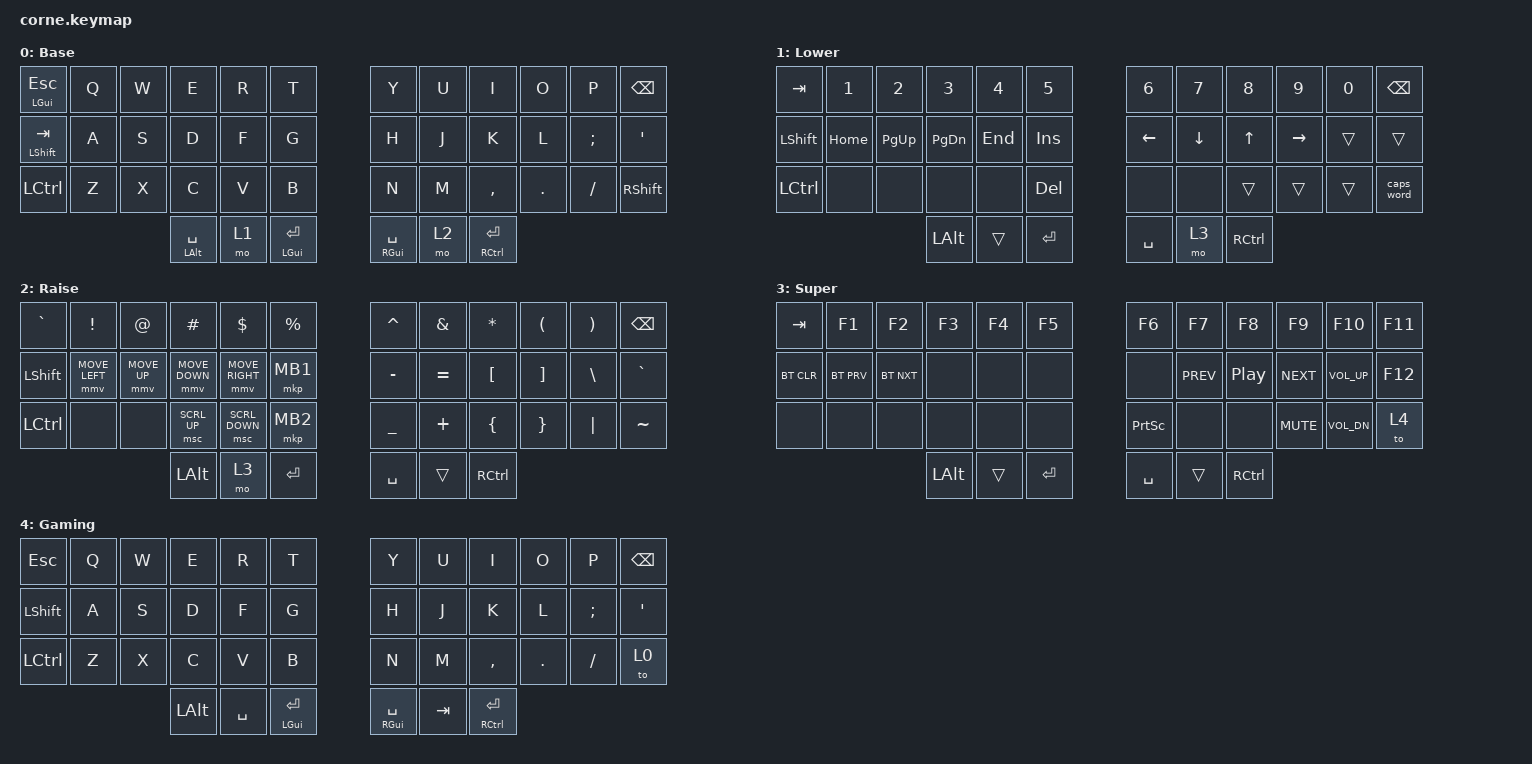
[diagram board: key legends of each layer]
/*
 * Copyright (c) 2020 The ZMK Contributors
 *
 * SPDX-License-Identifier: MIT
 */

#include <behaviors.dtsi>
#include <dt-bindings/zmk/keys.h>
#include <dt-bindings/zmk/bt.h>

// mouse emulation
#include <dt-bindings/zmk/pointing.h>

// will prefere tap version of mod-tap key
&mt {
    flavor = "balanced";
};

/ {
        keymap {
                compatible = "zmk,keymap";

                default_layer {
// -----------------------------------------------------------------------------------------
// |GUI(ESC) |  Q  |  W  |  E  |  R  |  T  |   |  Y  |  U   |  I  |  O  |  P  | BSPC |
// |SHFT(TAB)|  A  |  S  |  D  |  F  |  G  |   |  H  |  J   |  K  |  L  |  ;  |  '   |
// | LCTRL   |  Z  |  X  |  C  |  V  |  B  |   |  N  |  M   |  ,  |  .  |  /  | RSHFT  |
//                 | LALT | LWR | GUI(ret) |   | GUI(SPC) | RSE  | RCTRL |
                        display-name = "Base";
                        bindings = <
   &mt LGUI ESC  &kp Q &kp W &kp E &kp R &kp T   &kp Y &kp U  &kp I     &kp O   &kp P    &kp BSPC
   &mt LSHFT TAB &kp A &kp S &kp D &kp F &kp G   &kp H &kp J  &kp K     &kp L   &kp SEMI &kp SQT
   &kp LCTRL     &kp Z &kp X &kp C &kp V &kp B   &kp N &kp M  &kp COMMA &kp DOT &kp FSLH &kp RSHFT
             &mt LALT SPACE &mo 1 &mt LGUI RET   &mt RGUI SPACE &mo 2 &mt RCTRL RET
                        >;
                };
                lower_layer {
// -----------------------------------------------------------------------------------------
// |  TAB |  1  |  2  |  3  |  4  |  5  |   |  6  |  7  |  8  |  9  |  0  | BSPC |
// | SHFT |HOME |P_UP |P_DN | END | INS |   | LFT | DWN |  UP | RGT |     |      |
// | CTRL |     |     |     |     | DEL |   |     |     |     |     |     |      |
//                    | ALT |     | RET |   | SPC |     | CTL |
                        display-name = "Lower";
                        bindings = <
   &kp TAB    &kp N1       &kp N2       &kp N3       &kp N4       &kp N5             &kp N6   &kp N7   &kp N8 &kp N9    &kp N0 &kp BSPC
   &kp LSHFT  &kp HOME     &kp PG_UP    &kp PG_DN    &kp END      &kp INS            &kp LEFT &kp DOWN &kp UP &kp RIGHT &trans &trans
   &kp LCTRL  &none        &none        &none        &none        &kp DEL            &none    &none    &trans &trans    &trans &caps_word
                                         &kp LALT     &trans       &kp RET          &kp SPC  &mo 3   &kp RCTRL
                        >;
                };

                raise_layer {
// -----------------------------------------------------------------------------------------
// |`     |  !  |  @  |  #  |  $  |  %  |   |  ^  |  &  |  *  |  (  |  )  | BSPC |
// | CTRL |mouse|mouse|mouse|mouse|mouse|   |  -  |  =  |  [  |  ]  |  \  |  `   |
// | SHFT |     |     |mouse|mouse|mouse|   |  _  |  +  |  {  |  }  | "|" |  ~   |
//                    | ALT |     | RET |   | SPC |     | CTL |
                        display-name = "Raise";
                        bindings = <
   &kp GRAVE &kp EXCL       &kp AT       &kp HASH       &kp DLLR        &kp PRCNT       &kp CARET &kp AMPS  &kp ASTRK &kp LPAR &kp RPAR &kp BSPC
   &kp LSHFT &mmv MOVE_LEFT &mmv MOVE_UP &mmv MOVE_DOWN &mmv MOVE_RIGHT &mkp MB1        &kp MINUS &kp EQUAL &kp LBKT  &kp RBKT &kp BSLH &kp GRAVE
   &kp LCTRL &none          &none        &msc SCRL_UP   &msc SCRL_DOWN  &mkp MB2        &kp UNDER &kp PLUS  &kp LBRC  &kp RBRC &kp PIPE &kp TILDE
                                               &kp LALT     &mo 3       &kp RET          &kp SPC  &trans   &kp RCTRL
                        >;
                };


                super_layer {
// -----------------------------------------------------------------------------------------
// |  TAB | F1  |  F2 |  F3 |  F4 | F5  |   |  F6 |  F7 |  F8 |  F9 | F10 | F11 |
// | BCLR |BPREV|BNEXT|     |     |     |   |     |media|media|media|volUp| F12 |
// | CTRL |     |     |     |     | DEL |   |     |     |     |mute |volDn|     |
//                    | ALT |     | RET |   | SPC |     | CTL |
                        display-name = "Super";
                        bindings = <
   &kp TAB    &kp F1       &kp F2       &kp F3       &kp F4       &kp F5             &kp F6    &kp F7     &kp F8   &kp F9     &kp F10      &kp F11
   &bt BT_CLR &bt BT_PRV   &bt BT_NXT   &none        &none        &none              &none     &kp C_PREV &kp C_PP &kp C_NEXT &kp C_VOL_UP &kp F12
   &none      &none        &none        &none        &none        &none              &kp PSCRN &none      &none    &kp C_MUTE &kp C_VOL_DN &to 4
                                         &kp LALT     &trans       &kp RET          &kp SPC  &trans   &kp RCTRL
                        >;
                };

                game_layer {
// -----------------------------------------------------------------------------------------
// |GUI(ESC) |  Q  |  W  |  E  |  R  |  T  |   |  Y  |  U   |  I  |  O  |  P  | BSPC |
// |SHFT(TAB)|  A  |  S  |  D  |  F  |  G  |   |  H  |  J   |  K  |  L  |  ;  |  '   |
// | LCTRL   |  Z  |  X  |  C  |  V  |  B  |   |  N  |  M   |  ,  |  .  |  /  | RSHFT  |
//                 | LALT | LWR | GUI(ret) |   | GUI(SPC) | RSE  | RCTRL |
                        display-name = "Gaming";
                        bindings = <
   &kp ESC   &kp Q &kp W &kp E &kp R &kp T   &kp Y &kp U  &kp I     &kp O   &kp P    &kp BSPC
   &kp LSHFT &kp A &kp S &kp D &kp F &kp G   &kp H &kp J  &kp K     &kp L   &kp SEMI &kp SQT
   &kp LCTRL &kp Z &kp X &kp C &kp V &kp B   &kp N &kp M  &kp COMMA &kp DOT &kp FSLH &to 0
                   &kp LALT &kp SPACE &mt LGUI RET   &mt RGUI SPACE &kp TAB &mt RCTRL RET
                        >;
                };

        };
};
